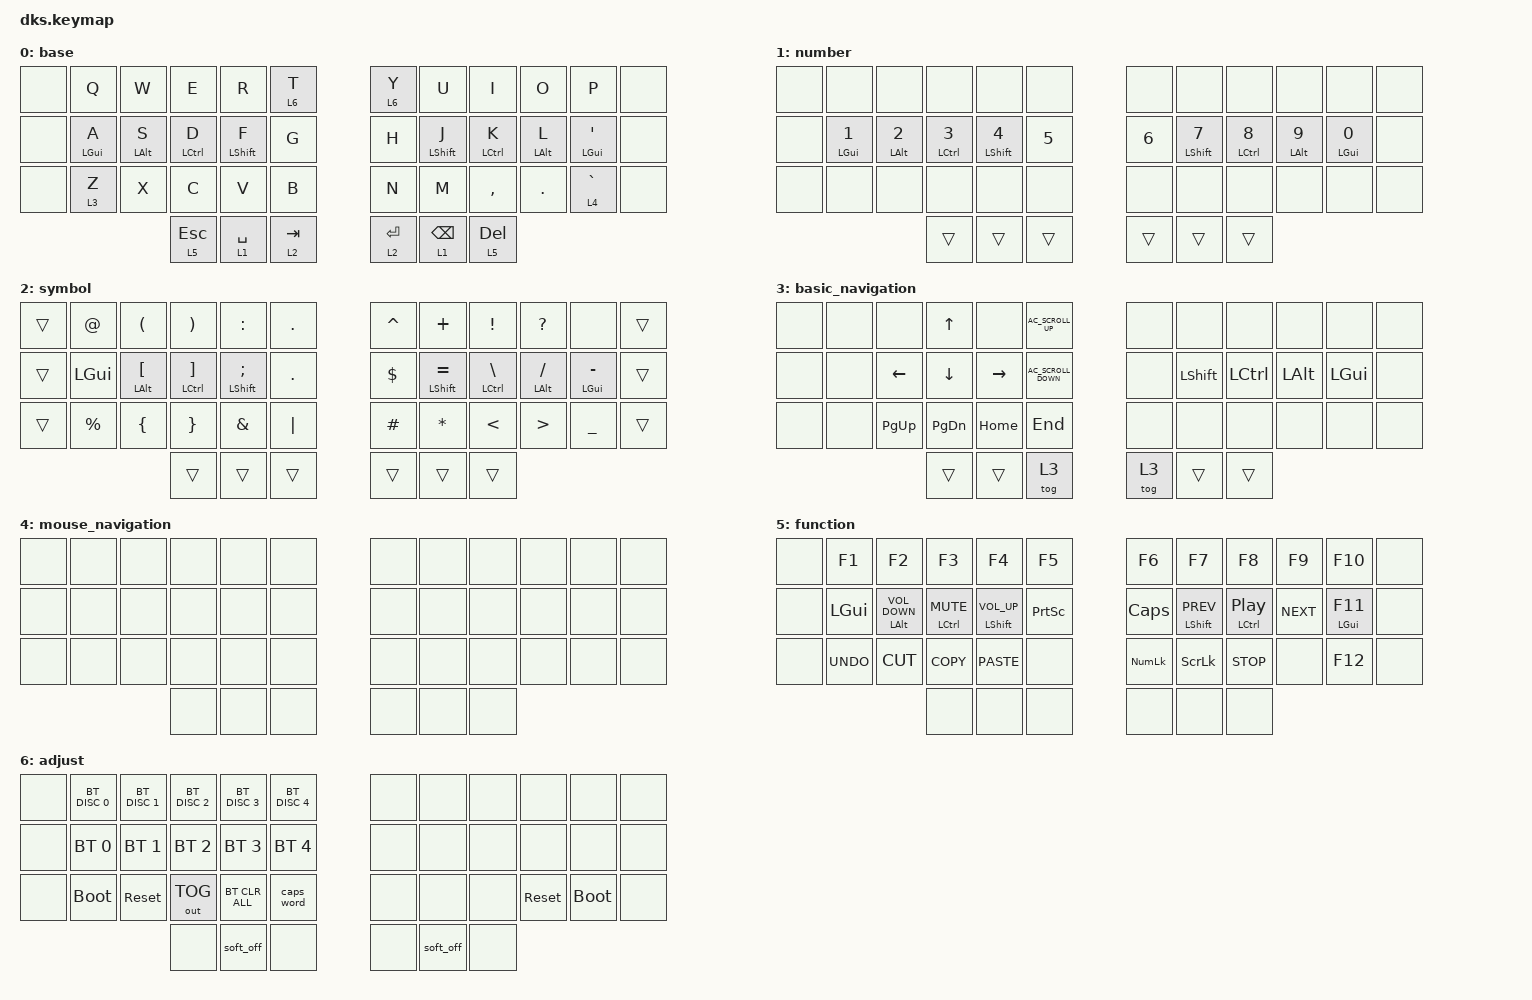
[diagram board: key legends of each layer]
/*
 * Copyright (c) 2020 The ZMK Contributors
 *
 * SPDX-License-Identifier: MIT
 */

#include <behaviors.dtsi>
#include <dt-bindings/zmk/bt.h>
#include <dt-bindings/zmk/keys.h>
#include <dt-bindings/zmk/outputs.h>

#define COMBO(K0, K1, OUTPUT) \
    combo_##K0##_##K1 { \
        timeout-ms = <40>; \
        key-positions = <K0 K1>; \
        bindings = <OUTPUT>; \
    };

&lt {
    tapping-term-ms = <200>;
    quick-tap-ms = <200>;// tap tap hold will fire the tapping key continuosly 
    flavor = "tap-preferred";
};

&mt {
    tapping-term-ms = <200>;
    quick-tap-ms = <200>;// tap tap hold will fire the tapping key continuosly 
    flavor = "tap-preferred";
};

/ {
    combos {
        compatible = "zmk,combos";

        //// Keys layout
        // XX  1  2  3  4  5 |  6  7  8  9 10 XX
        // XX 13 14 15 16 17 | 18 19 20 21 22 XX
        // XX 25 26 27 28 29 | 30 31 32 33 34 XX
        // -------------------------------------
        //          36 37 38 | 39 40 41

        ////// Same side combos

        //// LH
        
        // row 0
        // COMBO(1, 2, &none)
        COMBO(2, 3, &kp LEFT_PARENTHESIS)
        COMBO(3, 4, &kp RIGHT_PARENTHESIS)
        // COMBO(4, 5, &none)

        // row 0+1
        // COMBO(1, 13, &none)
        COMBO(2, 14, &kp AT_SIGN)
        COMBO(3, 15, &kp PERIOD)
        COMBO(4, 16, &kp COLON)
        COMBO(5, 17, &kp AMPERSAND)

        // row 1
        // COMBO(13, 14, &none)
        COMBO(14, 15, &kp LEFT_BRACKET)
        COMBO(15, 16, &kp RIGHT_BRACKET)
        // COMBO(16, 17, &none)

        // row 1+2
        // COMBO(13, 25, &none)
        COMBO(14, 26, &kp PERCENT)
        COMBO(15, 27, &kp COMMA)
        COMBO(16, 28, &kp SEMICOLON)
        COMBO(17, 29, &kp PIPE)

        // row 2
        COMBO(25, 26, &kp GRAVE)
        COMBO(26, 27, &kp LEFT_BRACE)
        COMBO(27, 28, &kp RIGHT_BRACE)
        // COMBO(28, 29, &none)


        //// RH

        // row 0
        // COMBO(6, 7, &none)
        COMBO(7, 8, &kp QUESTION)
        COMBO(8, 9, &kp EXCLAMATION)
        // COMBO(9, 10, &none)

        // row 0+1
        COMBO(6, 18, &kp CARET)
        COMBO(7, 19, &kp PLUS)
        COMBO(8, 20, &kp MINUS)
        COMBO(9, 21, &kp HASH)
        // COMBO(10, 22, &none)

        // row 1
        // COMBO(18, 19, &none)
        COMBO(19, 20, &kp BACKSLASH)
        COMBO(20, 21, &kp SLASH)
        // COMBO(21, 22, &none)

        // row 1+2
        COMBO(18, 30, &kp DOLLAR)
        COMBO(19, 31, &kp EQUAL)
        COMBO(20, 32, &kp UNDERSCORE)
        COMBO(21, 33, &kp ASTERISK)
        COMBO(22, 34, &none)

        // row 2
        // COMBO(30, 31, &none)
        COMBO(31, 32, &kp LESS_THAN)
        COMBO(32, 33, &kp GREATER_THAN)
        // COMBO(33, 34, &none)

        ////// Symmetric combos

        // row 0
        // COMBO(1, 10, &none)
        // COMBO(2, 9, &none)
        // COMBO(3, 8, &none)
        // COMBO(4, 7, &none)
        // COMBO(5, 6, &none)

        // row 1
        // COMBO(13, 22, &none)
        // COMBO(14, 21, &none)
        // COMBO(15, 20, &none)
        // COMBO(16, 19, &none)
        // COMBO(17, 18, &none)

        // row 2
        COMBO(25, 34, &tog 3) // combo_nav_layer_lock
        COMBO(26, 33, &none)
        COMBO(27, 32, &none)
        COMBO(28, 31, &none)
        COMBO(29, 30, &none)

        // thumbcluster
        COMBO(36, 41, &none)
        COMBO(37, 40, &tog 1) // combo_num_layer_lock
        COMBO(38, 39, &none)
    };
};

&soft_off {
    hold-time-ms = <2000>; // Only turn off it the key is held for 2 seconds or longer.
};

/ {
    keymap {
        compatible = "zmk,keymap";

        base {
            // -----------------------------------------------------------------------------------------
            // |  TAB |  Q  |  W  |  E  |  R  |  T  |   |  Y  |  U   |  I  |  O  |  P  | BKSP |
            // | CTRL |  A  |  S  |  D  |  F  |  G  |   |  H  |  J   |  K  |  L  |  ;  |  '   |
            // | SHFT |  Z  |  X  |  C  |  V  |  B  |   |  N  |  M   |  ,  |  .  |  /  | ESC  |
            //                    | GUI | LWR | SPC |   | ENT | RSE  | ALT |

            bindings = <
&none  &kp Q           &kp W           &kp E               &kp R             &lt 6 T      &lt 6 Y      &kp U             &kp I               &kp O           &kp P                      &none
&none  &mt LEFT_GUI A  &mt LEFT_ALT S  &mt LEFT_CONTROL D  &mt LEFT_SHIFT F  &kp G        &kp H        &mt LEFT_SHIFT J  &mt LEFT_CONTROL K  &mt LEFT_ALT L  &mt LEFT_GUI SINGLE_QUOTE  &none
&none  &lt 3 Z         &kp X           &kp C               &kp V             &kp B        &kp N        &kp M             &kp COMMA           &kp DOT         &lt 4 GRAVE                &none
                                       &lt 5 ESCAPE        &lt 1 SPACE       &lt 2 TAB    &lt 2 ENTER  &lt 1 BACKSPACE   &lt 5 DELETE
            >;
        };

        number {
            bindings = <
&none  &none            &none            &none                &none              &none     &none   &none              &none                &none            &none            &none
&none  &mt LEFT_GUI N1  &mt LEFT_ALT N2  &mt LEFT_CONTROL N3  &mt LEFT_SHIFT N4  &kp N5    &kp N6  &mt LEFT_SHIFT N7  &mt LEFT_CONTROL N8  &mt LEFT_ALT N9  &mt LEFT_GUI N0  &none
&none  &none            &none            &none                &none              &none     &none   &none              &none                &none            &none            &none
                                         &trans               &trans             &trans    &trans  &trans             &trans
            >;
        };

        symbol {
            bindings = <
&trans  &kp AT_SIGN   &kp LEFT_PARENTHESIS       &kp RIGHT_PARENTHESIS           &kp COLON                 &kp PERIOD    &kp CARET   &kp PLUS              &kp EXCLAMATION             &kp QUESTION        &none               &trans
&trans  &kp LEFT_GUI  &mt LEFT_ALT LEFT_BRACKET  &mt LEFT_CONTROL RIGHT_BRACKET  &mt LEFT_SHIFT SEMICOLON  &kp PERIOD    &kp DOLLAR  &mt LEFT_SHIFT EQUAL  &mt LEFT_CONTROL BACKSLASH  &mt LEFT_ALT SLASH  &mt LEFT_GUI MINUS  &trans
&trans  &kp PERCENT   &kp LEFT_BRACE             &kp RIGHT_BRACE                 &kp AMPERSAND             &kp PIPE      &kp HASH    &kp ASTERISK          &kp LESS_THAN               &kp GREATER_THAN    &kp UNDERSCORE      &trans
                                                 &trans                          &trans                    &trans        &trans      &trans                &trans
            >;
        };

        basic_navigation {
            bindings = <
&none  &none  &none        &kp UP         &none      &kp C_AC_SCROLL_UP      &none   &none      &none      &none     &none     &none
&none  &none  &kp LEFT     &kp DOWN       &kp RIGHT  &kp C_AC_SCROLL_DOWN   &none   &kp LSHFT  &kp LCTRL  &kp LALT  &kp LGUI  &none
&none  &none  &kp PAGE_UP  &kp PAGE_DOWN  &kp HOME   &kp END              &none   &none      &none      &none     &none     &none
                           &trans         &trans     &tog 3               &tog 3  &trans     &trans
            >;
        };

        mouse_navigation {
            bindings = <
&none  &none  &none  &none  &none  &none    &none  &none  &none  &none  &none  &none
&none  &none  &none  &none  &none  &none    &none  &none  &none  &none  &none  &none
&none  &none  &none  &none  &none  &none    &none  &none  &none  &none  &none  &none
                     &none  &none  &none    &none  &none  &none
            >;
        };

        function {
            bindings = <
&none  &kp F1      &kp F2                      &kp F3                   &kp F4                      &kp F5             &kp F6          &kp F7                     &kp F8                         &kp F9      &kp F10           &none
&none  &kp LGUI    &mt LEFT_ALT C_VOLUME_DOWN  &mt LEFT_CONTROL K_MUTE  &mt LEFT_SHIFT C_VOLUME_UP  &kp PRINTSCREEN    &kp CAPSLOCK    &mt LEFT_SHIFT C_PREV  &mt LEFT_CONTROL C_PLAY_PAUSE  &kp C_NEXT  &mt LEFT_GUI F11  &none
&none  &kp K_UNDO  &kp K_CUT                   &kp K_COPY               &kp K_PASTE                 &none              &kp KP_NUMLOCK  &kp SCROLLLOCK             &kp K_STOP                     &none       &kp F12           &none
                                               &none                    &none                       &none              &none           &none                      &none
            >;
        };

        adjust {
            bindings = <
&none  &bt BT_DISC 0  &bt BT_DISC 1  &bt BT_DISC 2  &bt BT_DISC 3  &bt BT_DISC 4    &none  &none  &none  &none  &none  &none
&none  &bt BT_SEL 0   &bt BT_SEL 1   &bt BT_SEL 2   &bt BT_SEL 3   &bt BT_SEL 4     &none  &none  &none  &none  &none  &none
&none  &bootloader    &sys_reset    &out OUT_TOG   &bt BT_CLR_ALL  &caps_word       &none  &none  &none  &sys_reset  &bootloader  &none
                                     &none          &soft_off          &none            &none  &soft_off  &none
            >;
        };
    };
};
